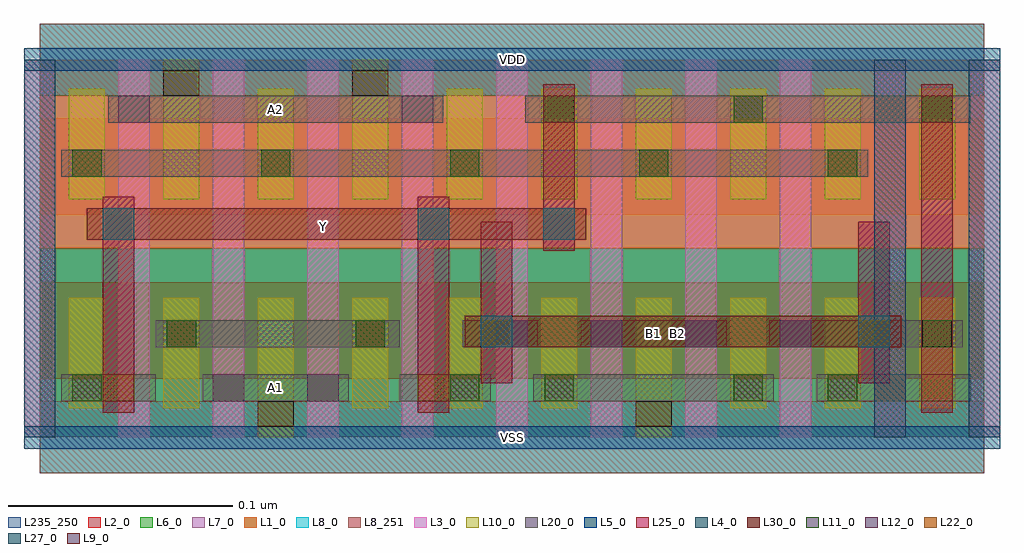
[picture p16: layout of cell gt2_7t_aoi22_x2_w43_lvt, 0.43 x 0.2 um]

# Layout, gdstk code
import gdstk
lib = gdstk.Library(unit=1e-6, precision=5e-10)
def R(c, l, rs):  # rectangles x0, y0, x1, y1
    for r in rs: c.add(gdstk.rectangle(r[:2], r[2:], *l))
def A(c, l, x, y, w, h, nx, ny, dx, dy):  # array of equal rectangles
    R(c, l, [(x+i*dx, y+j*dy, x+i*dx+w, y+j*dy+h) for i in range(nx) for j in range(ny)])
L1_0 = (1, 0)
L2_0 = (2, 0)
L3_0 = (3, 0)
L4_0 = (4, 0)
L5_0 = (5, 0)
L6_0 = (6, 0)
L7_0 = (7, 0)
L8_0 = (8, 0)
L8_251 = (8, 251)
L9_0 = (9, 0)
L10_0 = (10, 0)
L11_0 = (11, 0)
L12_0 = (12, 0)
L20_0 = (20, 0)
L22_0 = (22, 0)
L25_0 = (25, 0)
L27_0 = (27, 0)
L30_0 = (30, 0)
L235_250 = (235, 250)

gt2_7t_aoi22_x2_w43_lvt = lib.new_cell('gt2_7t_aoi22_x2_w43_lvt')
R(gt2_7t_aoi22_x2_w43_lvt, L1_0, [(0,0.084,0.42,0.168)])
R(gt2_7t_aoi22_x2_w43_lvt, L2_0, [(0,0.026,0.42,0.069), (0,0.099,0.42,0.142)])
A(gt2_7t_aoi22_x2_w43_lvt, L3_0, -0.007, 0, 0.014, 0.168, 11, 1, 0.042, 0)
R(gt2_7t_aoi22_x2_w43_lvt, L4_0, [(-0.007,0,0.007,0.168), (0.371,0,0.385,0.168), (0.413,0,0.427,0.168)])
R(gt2_7t_aoi22_x2_w43_lvt, L5_0, [(-0.007,-0.005,0.427,0.005), (-0.007,0.163,0.427,0.173)])
R(gt2_7t_aoi22_x2_w43_lvt, L6_0, [(0,0,0.42,0.084)])
R(gt2_7t_aoi22_x2_w43_lvt, L7_0, [(0,0.084,0.42,0.168)])
R(gt2_7t_aoi22_x2_w43_lvt, L8_0, [(0,-0.016,0.42,0.016), (0,0.152,0.42,0.184)])
R(gt2_7t_aoi22_x2_w43_lvt, L8_251, [(0,-0.016,0.42,0.016), (0,0.152,0.42,0.184)])
R(gt2_7t_aoi22_x2_w43_lvt, L9_0, [(0.097,0.005,0.113,0.016), (0.265,0.005,0.281,0.016), (0.055,0.152,0.071,0.163), (0.139,0.152,0.155,0.163)])
A(gt2_7t_aoi22_x2_w43_lvt, L10_0, 0.139, 0.013, 0.016, 0.049, 3, 1, 0.042, 0)
A(gt2_7t_aoi22_x2_w43_lvt, L10_0, 0.307, 0.013, 0.016, 0.049, 3, 1, 0.042, 0)
A(gt2_7t_aoi22_x2_w43_lvt, L10_0, 0.013, 0.106, 0.016, 0.049, 3, 1, 0.084, 0)
A(gt2_7t_aoi22_x2_w43_lvt, L10_0, 0.223, 0.106, 0.016, 0.049, 5, 1, 0.042, 0)
R(gt2_7t_aoi22_x2_w43_lvt, L10_0, [(0.097,0,0.113,0.062), (0.265,0,0.281,0.062), (0.013,0.013,0.029,0.062), (0.055,0.013,0.071,0.062), (0.055,0.106,0.071,0.168), (0.139,0.106,0.155,0.168)])
A(gt2_7t_aoi22_x2_w43_lvt, L11_0, 0.0145, 0.116, 0.013, 0.012, 5, 1, 0.084, 0)
A(gt2_7t_aoi22_x2_w43_lvt, L11_0, 0.2245, 0.14, 0.013, 0.012, 3, 1, 0.084, 0)
R(gt2_7t_aoi22_x2_w43_lvt, L11_0, [(0.0145,0.016,0.0275,0.028), (0.1825,0.016,0.1955,0.028), (0.2245,0.016,0.2375,0.028), (0.3085,0.016,0.3215,0.028), (0.3505,0.016,0.3635,0.028), (0.0565,0.04,0.0695,0.052), (0.1405,0.04,0.1535,0.052), (0.3925,0.04,0.4055,0.052)])
A(gt2_7t_aoi22_x2_w43_lvt, L12_0, 0.203, 0.04, 0.014, 0.012, 4, 1, 0.042, 0)
R(gt2_7t_aoi22_x2_w43_lvt, L12_0, [(0.077,0.016,0.091,0.028), (0.119,0.016,0.133,0.028), (0.035,0.14,0.049,0.152), (0.161,0.14,0.175,0.152)])
R(gt2_7t_aoi22_x2_w43_lvt, L20_0, [(0.0095,0.016,0.0515,0.028), (0.0725,0.016,0.1375,0.028), (0.16,0.016,0.2005,0.028), (0.2195,0.016,0.3265,0.028), (0.3455,0.016,0.414,0.028), (0.0515,0.04,0.16,0.052), (0.188,0.04,0.2215,0.052), (0.2405,0.04,0.3055,0.052), (0.3245,0.04,0.4105,0.052), (0.0095,0.116,0.3685,0.128), (0.0305,0.14,0.1795,0.152), (0.216,0.14,0.414,0.152)])
R(gt2_7t_aoi22_x2_w43_lvt, L22_0, [(0.028,0.016,0.042,0.028), (0.168,0.016,0.182,0.028), (0.392,0.016,0.406,0.028), (0.196,0.04,0.21,0.052), (0.364,0.04,0.378,0.052), (0.224,0.14,0.238,0.152), (0.392,0.14,0.406,0.152)])
R(gt2_7t_aoi22_x2_w43_lvt, L25_0, [(0.028,0.011,0.042,0.107), (0.168,0.011,0.182,0.107), (0.392,0.011,0.406,0.157), (0.196,0.024,0.21,0.096), (0.364,0.024,0.378,0.096), (0.224,0.083,0.238,0.157)])
R(gt2_7t_aoi22_x2_w43_lvt, L27_0, [(0.196,0.04,0.21,0.054), (0.364,0.04,0.378,0.054), (0.028,0.088,0.042,0.102), (0.168,0.088,0.182,0.102), (0.224,0.088,0.238,0.102)])
R(gt2_7t_aoi22_x2_w43_lvt, L30_0, [(0.189,0.04,0.383,0.054), (0.021,0.088,0.243,0.102)])
R(gt2_7t_aoi22_x2_w43_lvt, L235_250, [(0,0,0.42,0.168)])
gt2_7t_aoi22_x2_w43_lvt.add(gdstk.Label('VSS', (0.21,0), layer=8, texttype=251))
gt2_7t_aoi22_x2_w43_lvt.add(gdstk.Label('VDD', (0.21,0.168), layer=8, texttype=251))
gt2_7t_aoi22_x2_w43_lvt.add(gdstk.Label('A1', (0.105,0.022), layer=20, texttype=251))
gt2_7t_aoi22_x2_w43_lvt.add(gdstk.Label('A2', (0.105,0.146), layer=20, texttype=251))
gt2_7t_aoi22_x2_w43_lvt.add(gdstk.Label('B1', (0.273,0.046), layer=20, texttype=251))
gt2_7t_aoi22_x2_w43_lvt.add(gdstk.Label('B2', (0.2835,0.046), layer=30, texttype=251))
gt2_7t_aoi22_x2_w43_lvt.add(gdstk.Label('Y', (0.126,0.094), layer=30, texttype=251))

lib.write_gds('gt2_7t_aoi22_x2_w43_lvt.gds')
